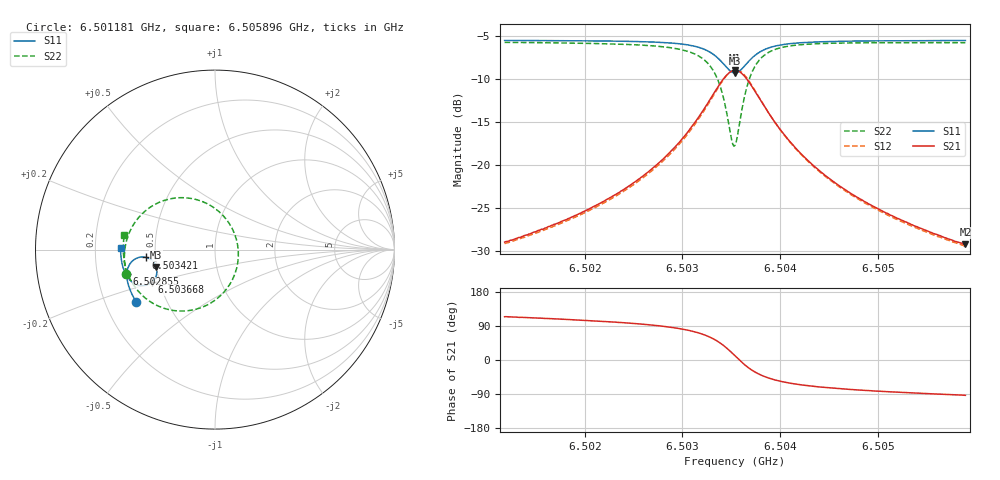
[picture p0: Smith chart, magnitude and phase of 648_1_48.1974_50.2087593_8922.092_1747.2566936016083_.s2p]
#  HZ  S  RI  R  50.00
! Rohde & Schwarz Vector Network Analyzer
! Rohde-Schwarz,ZNB20-2Port,1311601062101988,3.16
! Created: UTC 3/20/2024, 12:05:05 PM
! freq[Hz]  re:S11  im:S11  re:S21  im:S21  re:S12  im:S12  re:S22  im:S22
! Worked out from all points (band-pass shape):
!   401 points, 6.501181 GHz to 6.505896 GHz, reference 50 ohm
!   highest |S21| = -9.04 dB at 6.503538 GHz (marker M1); lowest = -29.2 dB at 6.505896 GHz (marker M2)
!   |S21| within 3 dB of the highest: 6.503303 GHz to 6.503775 GHz (471.5 kHz wide, 0.00725 % of centre)
!   lowest |S11| = -9.3 dB at 6.503538 GHz (marker M3), VSWR 2.04, Z = 24.9 - j5.54 ohm
!   |S11| at or under -10 dB: nowhere
!   |S22| runs from -17.8 to -5.8 dB; largest |S21 - S12| = 0.013
!   S11 on the Smith chart (normalised r, x): 6.501181 GHz: 0.34, -0.27; 6.502855 GHz: 0.33, -0.12; 6.503421 GHz: 0.45, -0.05; 6.503668 GHz: 0.46, -0.19; 6.505896 GHz: 0.31, +0.01
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6.5011813e9  -0.4374 -0.2933  -0.0147 0.0326  -0.0128 0.0326  -0.4953 -0.1347
6.5019709e9  -0.4697 -0.2329  -0.0138 0.0513  -0.0112 0.0507  -0.505 -0.0469
6.5024188e9  -0.4842 -0.1913  -0.0102 0.0727  -0.00688 0.0714  -0.4992 0.0209
6.5027606e9  -0.4911 -0.1514  -0.000476 0.103  0.00351 0.1004  -0.4772 0.0951
6.5028548e9  -0.4914 -0.1377  0.00553 0.1155  0.00951 0.1125  -0.4644 0.1219
6.5030552e9  -0.4855 -0.1033  0.0304 0.1523  0.0345 0.1475  -0.4124 0.1929
6.5031966e9  -0.4689 -0.0728  0.0723 0.1873  0.0753 0.181  -0.3319 0.253
6.5033263e9  -0.4313 -0.0458  0.1523 0.2136  0.1535 0.2069  -0.1861 0.2893
6.5034206e9  -0.3827 -0.0438  0.2474 0.1961  0.2478 0.1907  -0.0217 0.2438
6.5035031e9  -0.3382 -0.0748  0.3283 0.1181  0.3314 0.1133  0.1081 0.0901
6.5035384e9  -0.327 -0.0981  0.3466 0.0673  0.3508 0.0612  0.1298 -0.00561
6.503562e9  -0.3239 -0.1152  0.35 0.0313  0.3546 0.0235  0.127 -0.072
6.5035973e9  -0.3263 -0.1402  0.3421 -0.021  0.3462 -0.031  0.0983 -0.1649
6.5036681e9  -0.3495 -0.1792  0.2933 -0.1004  0.2933 -0.1132  -0.0171 -0.2936
6.5037623e9  -0.3921 -0.1998  0.2116 -0.1452  0.2064 -0.1565  -0.1835 -0.3424
6.5038331e9  -0.4191 -0.1997  0.162 -0.1505  0.1547 -0.1593  -0.2766 -0.3293
6.5039156e9  -0.4431 -0.1926  0.1198 -0.1441  0.112 -0.1503  -0.3506 -0.2965
6.5040806e9  -0.4731 -0.1711  0.07 -0.1222  0.063 -0.125  -0.4315 -0.2269
6.5043281e9  -0.4959 -0.1399  0.0358 -0.0942  0.0305 -0.0948  -0.4809 -0.147
6.5046816e9  -0.5115 -0.1013  0.0159 -0.0693  0.0122 -0.0688  -0.5044 -0.0702
6.5051177e9  -0.521 -0.06  0.00552 -0.0513  0.00295 -0.0507  -0.5112 -0.00436
6.5058956e9  -0.5263 0.00692  -0.00193 -0.0346  -0.00336 -0.0337  -0.5048 0.0818
